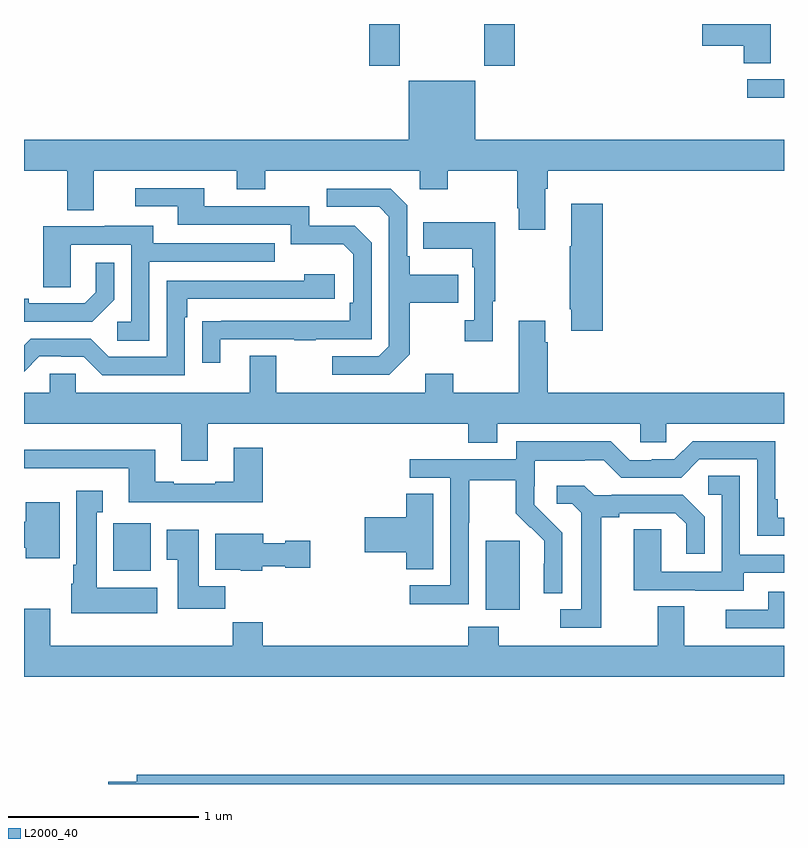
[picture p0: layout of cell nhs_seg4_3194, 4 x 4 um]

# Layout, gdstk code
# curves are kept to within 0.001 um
import gdstk
lib = gdstk.Library(unit=1e-6, precision=1e-09)
def R(c, l, rs):  # rectangles x0, y0, x1, y1
    for r in rs: c.add(gdstk.rectangle(r[:2], r[2:], *l))
def P(c, l, *ps):  # polygons
    for p in ps: c.add(gdstk.Polygon(p, *l))
L2000_40 = (2000, 40)

nhs_seg4_3194 = lib.new_cell('nhs_seg4_3194')
R(nhs_seg4_3194, L2000_40, [(281.429,819.818,281.608,820.179), (279.471,820.022,279.667,820.272), (282.807,822.511,283,822.609), (280.817,822.681,280.977,822.9), (281.422,822.681,281.582,822.9)])
P(nhs_seg4_3194, L2000_40, [(282.931,822.9),(282.57,822.9),(282.57,822.785),(282.788,822.785),(282.788,822.694),(282.931,822.694)],
  [(281.743,822.032),(281.756,822.032),(281.756,822.128),(283,822.128),(283,822.292),(281.374,822.292),(281.374,822.601),(281.024,822.601),(281.024,822.292),(279,822.292),(279,822.128),(279.227,822.128),(279.227,821.92),(279.367,821.92),(279.367,822.128),(280.121,822.128),(280.121,822.029),(280.269,822.029),(280.269,822.128),(281.082,822.128),(281.082,822.029),(281.229,822.029),(281.229,822.128),(281.596,822.128),(281.596,821.929),(281.603,821.929),(281.603,821.817),(281.743,821.817)],
  [(280.033,821.241),(280.423,821.241),(280.423,821.236),(280.535,821.236),(280.535,821.241),(280.83,821.241),(280.83,821.748),(280.74,821.838),(280.5,821.838),(280.5,821.94),(279.949,821.94),(279.949,822.036),(279.585,822.036),(279.585,821.94),(279.809,821.94),(279.809,821.844),(280.404,821.844),(280.404,821.741),(280.681,821.741),(280.734,821.688),(280.734,821.434),(280.714,821.434),(280.714,821.337),(279.937,821.336),(279.937,821.118),(280.033,821.118)],
  [(281.029,821.161),(281.029,821.434),(281.285,821.434),(281.285,821.581),(281.029,821.581),(281.029,821.677),(281.016,821.677),(281.016,821.946),(280.929,822.033),(280.593,822.033),(280.593,821.937),(280.869,821.937),(280.92,821.886),(280.92,821.205),(280.866,821.151),(280.623,821.151),(280.623,821.055),(280.923,821.055)],
  [(282.047,821.953),(281.879,821.953),(281.879,821.729),(281.872,821.729),(281.872,821.398),(281.879,821.398),(281.879,821.286),(282.047,821.286)],
  [(281.467,821.441),(281.479,821.441),(281.479,821.857),(281.101,821.857),(281.101,821.717),(281.358,821.717),(281.358,821.621),(281.37,821.621),(281.37,821.342),(281.319,821.342),(281.319,821.229),(281.467,821.229)],
  [(279.66,821.649),(280.319,821.649),(280.319,821.745),(279.679,821.745),(279.679,821.839),(279.425,821.839),(279.425,821.835),(279.101,821.835),(279.101,821.515),(279.246,821.515),(279.246,821.739),(279.564,821.739),(279.564,821.334),(279.492,821.334),(279.492,821.233),(279.66,821.233)],
  [(279.474,821.45),(279.474,821.644),(279.377,821.644),(279.377,821.487),(279.32,821.43),(279.025,821.43),(279.025,821.453),(279,821.453),(279,821.334),(279.358,821.334)],
  [(279.846,821.357),(279.859,821.357),(279.859,821.454),(280.636,821.454),(280.636,821.584),(280.475,821.584),(280.475,821.55),(279.75,821.55),(279.75,821.148),(279.447,821.148),(279.351,821.244),(279.036,821.244),(279,821.208),(279,821.07),(279.081,821.151),(279.197,821.151),(279.197,821.148),(279.315,821.148),(279.411,821.052),(279.846,821.052)],
  [(279.967,820.796),(281.339,820.796),(281.339,820.697),(281.491,820.697),(281.491,820.796),(282.243,820.796),(282.243,820.698),(282.381,820.698),(282.381,820.796),(283,820.796),(283,820.96),(281.756,820.96),(281.756,821.225),(281.743,821.225),(281.743,821.338),(281.603,821.338),(281.603,820.96),(281.259,820.96),(281.259,821.059),(281.111,821.059),(281.111,820.96),(280.327,820.96),(280.327,821.155),(280.187,821.155),(280.187,820.96),(279.273,820.96),(279.273,821.058),(279.135,821.058),(279.135,820.96),(279,820.96),(279,820.796),(279.827,820.796),(279.827,820.602),(279.967,820.602)],
  [(281.34,820.276),(281.343,820.276),(281.343,820.5),(281.587,820.5),(281.587,820.325),(281.664,820.248),(281.667,820.251),(281.738,820.181),(281.738,820.058),(281.736,820.058),(281.736,819.904),(281.832,819.904),(281.832,820.222),(281.686,820.37),(281.686,820.467),(281.688,820.467),(281.688,820.601),(281.951,820.601),(281.951,820.605),(282.051,820.605),(282.144,820.512),(282.459,820.512),(282.555,820.608),(282.858,820.608),(282.858,820.206),(283,820.206),(283,820.302),(282.967,820.302),(282.967,820.399),(282.954,820.399),(282.954,820.704),(282.519,820.704),(282.423,820.608),(282.305,820.608),(282.305,820.605),(282.189,820.605),(282.089,820.705),(281.592,820.705),(281.592,820.608),(281.031,820.608),(281.031,820.512),(281.244,820.512),(281.244,819.945),(281.031,819.945),(281.031,819.847),(281.34,819.847)],
  [(280.256,820.669),(280.103,820.669),(280.103,820.492),(280.007,820.492),(280.007,820.479),(279.787,820.479),(279.787,820.492),(279.691,820.492),(279.691,820.66),(279,820.66),(279,820.563),(279.551,820.563),(279.551,820.382),(280.256,820.382)],
  [(282.787,820.011),(283,820.011),(283,820.107),(282.768,820.107),(282.768,820.523),(282.6,820.523),(282.6,820.422),(282.672,820.422),(282.672,820.017),(282.354,820.017),(282.354,820.241),(282.209,820.241),(282.209,819.921),(282.533,819.921),(282.533,819.917),(282.787,819.917)],
  [(282.037,820.304),(282.133,820.304),(282.133,820.326),(282.428,820.326),(282.485,820.269),(282.485,820.113),(282.582,820.113),(282.582,820.306),(282.466,820.422),(282.094,820.422),(282.094,820.419),(282,820.419),(281.948,820.471),(281.805,820.471),(281.805,820.374),(281.886,820.374),(281.933,820.327),(281.933,819.819),(281.823,819.819),(281.823,819.723),(282.037,819.723)],
  [(279.7,819.934),(279.382,819.934),(279.382,820.331),(279.415,820.331),(279.415,820.444),(279.275,820.444),(279.275,820.054),(279.26,820.054),(279.26,819.954),(279.248,819.954),(279.248,819.8),(279.7,819.8)],
  [(281.155,820.427),(281.012,820.427),(281.012,820.304),(280.794,820.304),(280.794,820.121),(281.012,820.121),(281.012,820.03),(281.155,820.03)],
  [(279.187,820.384),(279.008,820.384),(279.008,820.28),(279,820.28),(279,820.144),(279.008,820.144),(279.008,820.088),(279.187,820.088)],
  [(280.058,819.94),(279.919,819.94),(279.919,820.237),(279.752,820.237),(279.752,820.081),(279.809,820.081),(279.809,819.822),(280.058,819.822)],
  [(280.254,820.046),(280.374,820.046),(280.374,820.039),(280.507,820.039),(280.507,820.181),(280.374,820.181),(280.374,820.168),(280.258,820.168),(280.258,820.216),(280.007,820.216),(280.007,820.028),(280.14,820.028),(280.14,820.022),(280.254,820.022)],
  [(283,819.912),(282.917,819.912),(282.917,819.816),(282.693,819.816),(282.693,819.72),(283,819.72)],
  [(283,819.628),(282.475,819.628),(282.475,819.836),(282.335,819.836),(282.335,819.628),(281.499,819.628),(281.499,819.727),(281.339,819.727),(281.339,819.628),(280.256,819.628),(280.256,819.752),(280.099,819.752),(280.099,819.628),(279.139,819.628),(279.139,819.823),(279,819.823),(279,819.464),(283,819.464)],
  [(283,818.948),(279.593,818.948),(279.593,818.912),(279.444,818.912),(279.444,818.9),(283,818.9)])

lib.write_gds('nhs_seg4_3194.gds')
